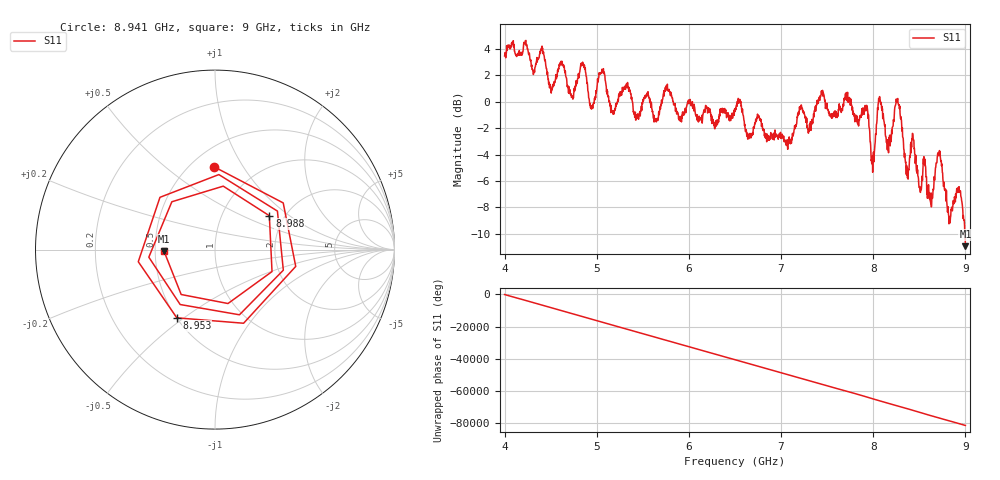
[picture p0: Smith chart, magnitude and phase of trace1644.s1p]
! Created with skrf 1.8.0 (http://scikit-rf.org).
# Hz S RI R 50.0
!freq ReS11 ImS11
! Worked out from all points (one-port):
!   1601 points, 4 GHz to 9 GHz, reference 50 ohm
!   lowest |S11| = -10.9 dB at 9 GHz (marker M1), VSWR 1.79, Z = 27.9 - j0.509 ohm
!   |S11| at or under -10 dB: 8.993285 GHz to end of sweep
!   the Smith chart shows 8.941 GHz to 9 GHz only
!   S11 on the Smith chart (normalised r, x): 8.941 GHz: 0.65, +0.76; 8.953 GHz: 0.50, -0.47; 8.988 GHz: 1.67, +0.72; 9 GHz: 0.56, -0.01
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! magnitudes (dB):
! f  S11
! 4 GHz  3.5
! 4.406 GHz  4.2
! 4.509 GHz  1.0
! 4.625 GHz  2.7
! 4.725 GHz  0.3
! 4.85 GHz  2.8
! 4.944 GHz  -0.4
! 5.05 GHz  2.1
! 5.25 GHz  0.5
! 5.875 GHz  -0.8
! 6.5 GHz  -0.7
! 7.125 GHz  -2.4
! 7.438 GHz  0.8
! 7.75 GHz  -0.3
! 7.925 GHz  -0.4
! 7.994 GHz  -5.3
! 8.069 GHz  0.4
! 8.169 GHz  -3.0
! 8.262 GHz  0.2
! 8.375 GHz  -5.4
! 8.428 GHz  -2.4
! 8.631 GHz  -8.0
! 8.719 GHz  -3.7
! 8.822 GHz  -9.2
! 8.941 GHz  -6.7
! 8.953 GHz  -7.2
! 8.988 GHz  -9.0
! 9 GHz  -10.9
